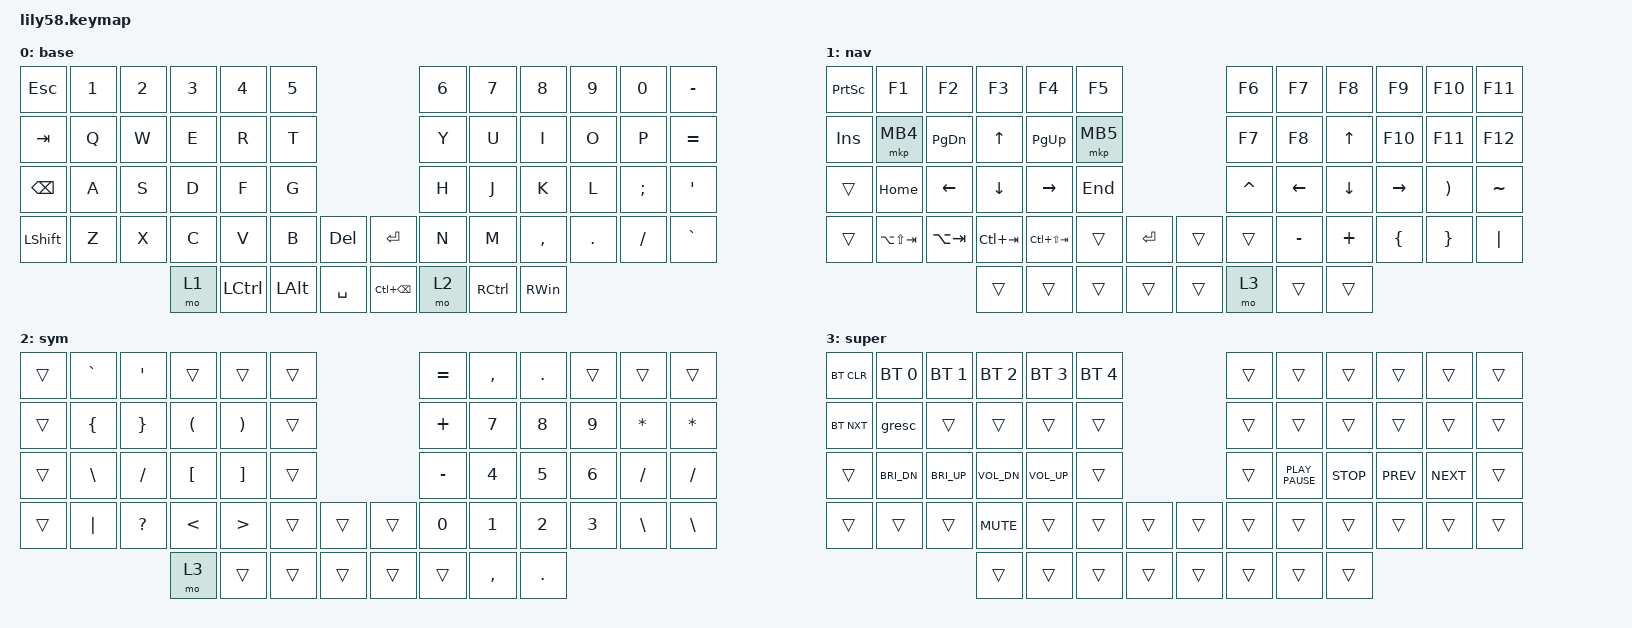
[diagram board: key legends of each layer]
/*
 * Copyright (c) 2020 The ZMK Contributors
 *
 * SPDX-License-Identifier: MIT
 */

#include <dt-bindings/zmk/mouse.h>
#include <behaviors.dtsi>
#include <dt-bindings/zmk/bt.h>
#include <dt-bindings/zmk/keys.h>
#include <dt-bindings/zmk/pointing.h>

/ {
    keymap {
        compatible = "zmk,keymap";

        default_layer {
            // ------------------------------------------------------------------------------------------------------------
            // |  ESC  |  1  |  2  |  3   |  4   |  5   |                   |  6   |  7    |  8    |  9   |   0   |   `   |
            // |  TAB  |  Q  |  W  |  E   |  R   |  T   |                   |  Y   |  U    |  I    |  O   |   P   |   -   |
            // |  CTRL |  A  |  S  |  D   |  F   |  G   |                   |  H   |  J    |  K    |  L   |   ;   |   '   |
            // | SHIFT |  Z  |  X  |  C   |  V   |  B   |   "["  |  |  "]"  |  N   |  M    |  ,    |  .   |   /   | SHIFT |
            //                     | ALT  | GUI  | LOWER|  SPACE |  | ENTER | RAISE| BSPC  | GUI   |

            display-name = "base";
            bindings = <
&kp ESC        &kp N1  &kp N2  &kp N3  &kp N4     &kp N5                                        &kp N6  &kp N7     &kp N8     &kp N9   &kp N0    &kp MINUS
&kp TAB        &kp Q   &kp W   &kp E   &kp R      &kp T                                         &kp Y   &kp U      &kp I      &kp O    &kp P     &kp EQUAL
&kp BACKSPACE  &kp A   &kp S   &kp D   &kp F      &kp G                                         &kp H   &kp J      &kp K      &kp L    &kp SEMI  &kp SQT
&kp LSHFT      &kp Z   &kp X   &kp C   &kp V      &kp B         &kp DEL      &kp ENTER          &kp N   &kp M      &kp COMMA  &kp DOT  &kp FSLH  &kp GRAVE
                               &mo 1   &kp LCTRL  &kp LEFT_ALT  &kp SPACE    &kp LC(BACKSPACE)  &mo 2   &kp RCTRL  &kp RWIN
            >;
        };

        navigation {
            // ------------------------------------------------------------------------------------------------------------
            // | BTCLR | BT1 | BT2 |  BT3 |  BT4 |  BT5 |                   |      |       |       |      |       |       |
            // |  F1   |  F2 |  F3 |  F4  |  F5  |  F6  |                   |  F7  |  F8   |  F9   |  F10 |  F11  |  F12  |
            // |   `   |  !  |  @  |  #   |  $   |  %   |                   |  ^   |  &    |  *    |  (   |   )   |   ~   |
            // |       |     |     |      |      |      |        |  |       |      |  _    |  +    |  {   |   }   |  "|"  |
            //                     |      |      |      |        |  |       |      |       |       |

            display-name = "nav";
            bindings = <
&kp PRINTSCREEN  &kp F1           &kp F2       &kp F3       &kp F4           &kp F5                         &kp F6     &kp F7     &kp F8    &kp F9     &kp F10   &kp F11
&kp INS          &mkp MB4         &kp PG_DN    &kp UP       &kp PG_UP        &mkp MB5                       &kp F7     &kp F8     &kp UP    &kp F10    &kp F11   &kp F12
&trans           &kp HOME         &kp LEFT     &kp DOWN     &kp RIGHT        &kp END                        &kp CARET  &kp LEFT   &kp DOWN  &kp RIGHT  &kp RPAR  &kp TILDE
&trans           &kp LA(LS(TAB))  &kp LA(TAB)  &kp LC(TAB)  &kp LC(LS(TAB))  &trans    &kp ENTER    &trans  &trans     &kp MINUS  &kp PLUS  &kp LBRC   &kp RBRC  &kp PIPE
                                               &trans       &trans           &trans    &trans       &trans  &mo 3      &trans     &trans
            >;
        };

        symbol {
            // ------------------------------------------------------------------------------------------------------------
            // |       |     |     |      |      |      |                   |      |       |       |      |       |       |
            // |   `   |  1  |  2  |  3   |  4   |  5   |                   |  6   |   7   |   8   |  9   |   0   |       |
            // |   F1  |  F2 |  F3 |  F4  |  F5  |  F6  |                   |      |   <-  |   v   |  ^   |  ->   |       |
            // |   F7  |  F8 |  F9 |  F10 |  F11 |  F12 |        |  |       |  +   |   -   |   =   |  [   |   ]   |   \   |
            //                     |      |      |      |        |  |       |      |       |       |

            display-name = "sym";
            bindings = <
&trans  &kp GRAVE       &kp SQT          &trans                &trans                 &trans                    &kp EQUAL  &kp COMMA  &kp PERIOD  &trans  &trans     &trans
&trans  &kp LEFT_BRACE  &kp RIGHT_BRACE  &kp LEFT_PARENTHESIS  &kp RIGHT_PARENTHESIS  &trans                    &kp PLUS   &kp N7     &kp N8      &kp N9  &kp STAR   &kp STAR
&trans  &kp BSLH        &kp FSLH         &kp LBKT              &kp RBKT               &trans                    &kp MINUS  &kp N4     &kp N5      &kp N6  &kp SLASH  &kp FSLH
&trans  &kp PIPE        &kp QUESTION     &kp LESS_THAN         &kp GREATER_THAN       &trans  &trans    &trans  &kp N0     &kp N1     &kp N2      &kp N3  &kp BSLH   &kp BSLH
                                         &mo 3                 &trans                 &trans  &trans    &trans  &trans     &kp COMMA  &kp PERIOD
            >;
        };

        super {
            bindings = <
&bt BT_CLR  &bt BT_SEL 0  &bt BT_SEL 1  &bt BT_SEL 2  &bt BT_SEL 3  &bt BT_SEL 4                    &trans  &trans            &trans      &trans      &trans      &trans
&bt BT_NXT  &gresc        &trans        &trans        &trans        &trans                          &trans  &trans            &trans      &trans      &trans      &trans
&trans      &kp C_BRI_DN  &kp C_BRI_UP  &kp C_VOL_DN  &kp C_VOL_UP  &trans                          &trans  &kp K_PLAY_PAUSE  &kp K_STOP  &kp K_PREV  &kp K_NEXT  &trans
&trans      &trans        &trans        &kp K_MUTE    &trans        &trans        &trans    &trans  &trans  &trans            &trans      &trans      &trans      &trans
                                        &trans        &trans        &trans        &trans    &trans  &trans  &trans            &trans
            >;
        };
    };
};
